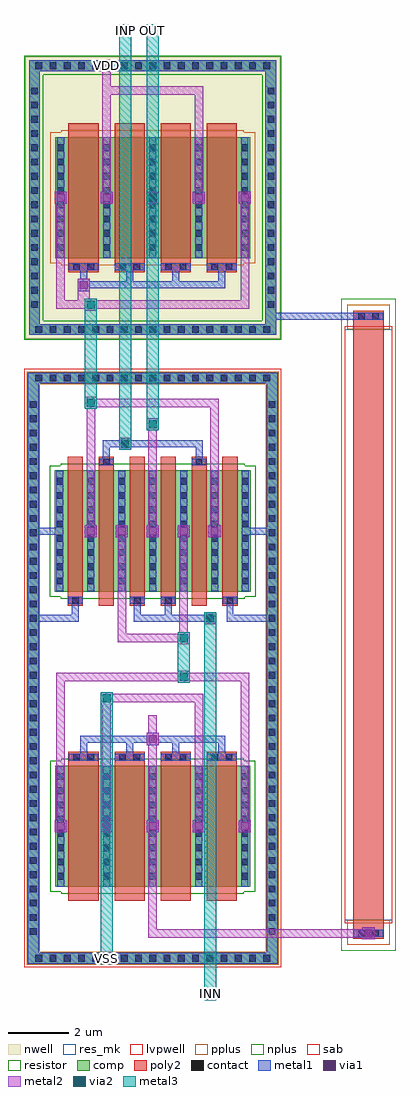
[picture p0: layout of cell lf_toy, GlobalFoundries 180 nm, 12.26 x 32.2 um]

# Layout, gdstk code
import gdstk
lib = gdstk.Library(unit=1e-6, precision=1e-09)
def R(c, l, rs):  # rectangles x0, y0, x1, y1
    for r in rs: c.add(gdstk.rectangle(r[:2], r[2:], *l))
def A(c, l, x, y, w, h, nx, ny, dx, dy):  # array of equal rectangles
    R(c, l, [(x+i*dx, y+j*dy, x+i*dx+w, y+j*dy+h) for i in range(nx) for j in range(ny)])
nwell = (21, 0)
comp = (22, 0)
poly2 = (30, 0)
pplus = (31, 0)
nplus = (32, 0)
contact = (33, 0)
metal1 = (34, 0)
via1 = (35, 0)
metal2 = (36, 0)
via2 = (38, 0)
metal3 = (42, 0)
sab = (49, 0)
resistor = (62, 0)
res_mk = (110, 5)
lvpwell = (204, 0)

lf_toy = lib.new_cell('lf_toy')
R(lf_toy, nwell, [(-4.2,16.09,4.2,25.39)])
R(lf_toy, comp, [(-4.12,-4.53,4.12,-4.17), (-4.12,-4.17,-3.76,14.61), (3.76,-4.17,4.12,14.61), (-3.22,-2,3.22,2), (-3.24,7.74,3.24,11.74), (-4.12,14.61,4.12,14.97), (-4.08,16.21,4.08,16.57), (-4.08,16.57,-3.72,24.91), (3.72,16.57,4.08,24.91), (-3.22,18.74,3.22,22.74), (-4.08,24.91,4.08,25.27)])
A(lf_toy, poly2, -2.78, -2.46, 1, 4.92, 4, 2, 1.52, 20.74)
A(lf_toy, poly2, -2.8, 7.28, 0.5, 4.92, 6, 1, 1.02, 0)
R(lf_toy, poly2, [(6.62,-3.71,7.62,17.01)])
R(lf_toy, pplus, [(-4.15,-4.56,4.15,-4.14), (-4.15,-4.14,-3.73,14.58), (3.73,-4.14,4.15,14.58), (6.42,-3.91,7.82,-3.1), (-4.15,14.58,4.15,15), (6.42,16.4,7.82,17.21), (-3.01,18.51,3.01,18.58), (-3.38,18.58,3.38,22.9), (-3.01,22.9,3.01,22.97)])
R(lf_toy, nplus, [(-3.01,-2.23,3.01,-2.16), (-3.38,-2.16,3.38,2.16), (-3.01,2.16,3.01,2.23), (-3.03,7.51,3.03,7.58), (-3.4,7.58,3.4,11.9), (-3.03,11.9,3.03,11.97), (-4.24,16.05,4.24,16.68), (-4.24,16.68,-3.61,24.8), (3.61,16.68,4.24,24.8), (-4.24,24.8,4.24,25.43)])
A(lf_toy, contact, -3.87, -4.46, 0.22, 0.22, 17, 2, 0.47, 19.14)
A(lf_toy, contact, -4.05, -3.585, 0.22, 0.22, 1, 38, 0, 0.47)
A(lf_toy, contact, 3.83, -3.585, 0.22, 0.22, 1, 38, 0, 0.47)
A(lf_toy, contact, -3.15, -1.755, 0.22, 0.22, 5, 8, 1.52, 0.47)
A(lf_toy, contact, -3.17, 7.985, 0.22, 0.22, 7, 8, 1.02, 0.47)
A(lf_toy, contact, -3.87, 16.28, 0.22, 0.22, 17, 2, 0.47, 8.7)
A(lf_toy, contact, -4.01, 17.105, 0.22, 0.22, 1, 16, 0, 0.47)
A(lf_toy, contact, 3.79, 17.105, 0.22, 0.22, 1, 16, 0, 0.47)
A(lf_toy, contact, -3.15, 18.985, 0.22, 0.22, 5, 8, 1.52, 0.47)
R(lf_toy, contact, [(6.775,-3.64,6.995,-3.42), (7.245,-3.64,7.465,-3.42), (-2.625,2.17,-2.405,2.39), (-2.155,2.17,-1.935,2.39), (-1.105,2.17,-0.885,2.39), (-0.635,2.17,-0.415,2.39), (0.415,2.17,0.635,2.39), (0.885,2.17,1.105,2.39), (1.935,2.17,2.155,2.39), (2.405,2.17,2.625,2.39), (-2.66,7.35,-2.44,7.57), (-0.62,7.35,-0.4,7.57), (0.4,7.35,0.62,7.57), (2.44,7.35,2.66,7.57), (-1.64,11.91,-1.42,12.13), (1.42,11.91,1.64,12.13), (6.775,16.72,6.995,16.94), (7.245,16.72,7.465,16.94), (-2.625,18.35,-2.405,18.57), (-2.155,18.35,-1.935,18.57), (-1.105,18.35,-0.885,18.57), (-0.635,18.35,-0.415,18.57), (0.415,18.35,0.635,18.57), (0.885,18.35,1.105,18.57), (1.935,18.35,2.155,18.57), (2.405,18.35,2.625,18.57)])
A(lf_toy, metal1, -3.155, -1.99, 0.23, 1.79, 5, 2, 1.52, 2.19)
A(lf_toy, metal1, -3.24, -0.2, 0.4, 0.4, 5, 2, 1.52, 20.74)
A(lf_toy, metal1, -2.77, 2.165, 0.98, 0.23, 4, 2, 1.52, 16.18)
A(lf_toy, metal1, -2.395, 2.395, 0.23, 0.37, 4, 1, 1.52, 0)
A(lf_toy, metal1, -2.155, 7.75, 0.23, 1.79, 5, 2, 1.02, 2.19)
A(lf_toy, metal1, -2.24, 9.54, 0.4, 0.4, 5, 1, 1.02, 0)
A(lf_toy, metal1, -0.875, 17.975, 0.23, 0.37, 3, 1, 1.52, 0)
A(lf_toy, metal1, -3.155, 18.75, 0.23, 1.79, 5, 2, 1.52, 2.19)
R(lf_toy, metal1, [(-1.72,-4.55,-1.32,-4.53), (-4.12,-4.53,4.12,-4.17), (-4.12,-4.17,-3.76,6.745), (-1.72,-4.17,-1.32,-4.15), (3.76,-4.17,4.12,6.745), (6.92,-3.73,7.32,-3.645), (6.63,-3.645,7.61,-3.415), (6.92,-3.415,7.32,-3.33), (-0.2,2.68,0.2,2.765), (-2.395,2.765,2.395,2.995), (-0.2,2.995,0.2,3.08), (1.7,6.66,2.1,6.745), (-4.12,6.745,-2.435,6.975), (-0.625,6.745,2.1,6.975), (2.435,6.745,4.12,6.975), (-4.12,6.975,-3.76,9.625), (-2.665,6.975,-2.435,7.345), (-0.625,6.975,-0.395,7.345), (0.395,6.975,0.625,7.345), (1.7,6.975,2.1,7.06), (2.435,6.975,2.665,7.345), (3.76,6.975,4.12,9.625), (-2.79,7.345,-2.31,7.575), (-0.75,7.345,-0.27,7.575), (0.27,7.345,0.75,7.575), (2.31,7.345,2.79,7.575), (-3.175,7.75,-2.945,9.625), (2.945,7.75,3.175,9.625), (-4.12,9.625,-2.945,9.855), (2.945,9.625,4.12,9.855), (-4.12,9.855,-3.76,14.61), (-3.175,9.855,-2.945,11.73), (2.945,9.855,3.175,11.73), (3.76,9.855,4.12,14.61), (-1.77,11.905,-1.29,12.135), (1.29,11.905,1.77,12.135), (-1.645,12.135,-1.415,12.505), (1.415,12.135,1.645,12.505), (-1.1,12.42,-0.7,12.505), (-1.645,12.505,1.645,12.735), (-1.1,12.735,-0.7,12.82), (-4.12,14.61,4.12,14.97), (-4.08,16.21,4.08,16.57), (-4.08,16.57,-3.72,24.91), (3.72,16.57,4.08,16.715), (3.72,16.715,7.61,16.945), (3.72,16.945,4.08,24.91), (-2.48,17.66,-2.08,17.745), (-2.48,17.745,2.395,17.975), (-2.48,17.975,-2.08,18.06), (-2.395,18.06,-2.165,18.345), (-1.72,24.89,-1.32,24.91), (-4.08,24.91,4.08,25.27), (-1.72,25.27,-1.32,25.29)])
A(lf_toy, via1, -3.17, -0.13, 0.26, 0.26, 5, 2, 1.52, 20.74)
A(lf_toy, via1, -2.17, 9.61, 0.26, 0.26, 5, 1, 1.02, 0)
R(lf_toy, via1, [(-1.65,-4.48,-1.39,-4.22), (6.99,-3.66,7.25,-3.4), (-0.13,2.75,0.13,3.01), (1.77,6.73,2.03,6.99), (-1.03,12.49,-0.77,12.75), (-2.41,17.73,-2.15,17.99), (-1.65,24.96,-1.39,25.22)])
A(lf_toy, metal2, -3.24, -0.2, 0.4, 0.4, 5, 2, 1.52, 20.74)
A(lf_toy, metal2, -2.24, 9.54, 0.4, 0.4, 5, 1, 1.02, 0)
R(lf_toy, metal2, [(-1.72,-4.55,-1.32,-4.15), (6.92,-3.73,7.32,-3.67), (-0.14,-3.67,7.32,-3.39), (-0.14,-3.39,0.14,-0.2), (6.92,-3.39,7.32,-3.33), (-3.18,0.2,-2.9,4.79), (-1.66,0.2,-1.38,4.03), (-0.14,0.2,0.14,2.68), (1.38,0.2,1.66,4.09), (2.9,0.2,3.18,4.79), (-0.2,2.68,0.2,3.08), (-0.14,3.08,0.14,3.67), (-1.72,4.03,-1.32,4.09), (-1.72,4.09,1.66,4.37), (-1.72,4.37,-1.32,4.43), (0.82,4.73,1.22,4.79), (-3.18,4.79,3.18,5.07), (0.82,5.07,1.22,5.13), (0.82,6.01,1.22,6.07), (-1.16,6.07,1.22,6.35), (-1.16,6.35,-0.88,9.54), (0.82,6.35,1.22,6.41), (0.88,6.41,1.16,9.54), (1.7,6.66,2.1,7.06), (-2.18,9.94,-1.9,13.77), (-0.14,9.94,0.14,13.07), (1.9,9.94,2.18,13.83), (-1.1,12.42,-0.7,12.82), (-0.2,13.07,0.2,13.47), (-2.24,13.77,-1.84,13.83), (-2.24,13.83,2.18,14.11), (-2.24,14.11,-1.84,14.17), (-2.24,17.01,-1.84,17.07), (-3.18,17.07,3.18,17.35), (-3.18,17.35,-2.9,20.54), (-2.48,17.35,-1.84,17.41), (2.9,17.35,3.18,20.54), (-2.48,17.41,-2.08,18.06), (-1.66,20.94,-1.38,24.13), (1.38,20.94,1.66,24.13), (-1.66,24.13,1.66,24.41), (-1.66,24.41,-1.38,24.89), (-1.72,24.89,-1.32,25.29)])
R(lf_toy, via2, [(-1.65,-4.48,-1.39,-4.22), (-1.65,4.1,-1.39,4.36), (0.89,4.8,1.15,5.06), (0.89,6.08,1.15,6.34), (1.77,6.73,2.03,6.99), (-1.03,12.49,-0.77,12.75), (-0.13,13.14,0.13,13.4), (-2.17,13.84,-1.91,14.1), (-2.17,17.08,-1.91,17.34), (-0.13,20.61,0.13,20.87)])
R(lf_toy, metal3, [(1.7,-5.73,2.1,7.06), (-1.72,-4.55,-1.32,4.43), (0.82,4.73,1.22,6.41), (-1.1,12.42,-0.7,26.47), (-0.2,13.07,0.2,26.47), (-2.24,13.77,-1.84,17.41)])
R(lf_toy, sab, [(6.34,-3.2,7.9,16.5), (6.34,-3.1,7.9,16.4)])
R(lf_toy, resistor, [(6.22,-4.11,8.02,17.41)])
R(lf_toy, res_mk, [(6.34,-3.1,7.9,16.4), (6.62,-3.1,7.62,16.4)])
R(lf_toy, lvpwell, [(-4.24,-4.65,4.24,15.09)])
lf_toy.add(gdstk.Label('OUT', (0,26.27), layer=42, texttype=10))
lf_toy.add(gdstk.Label('VDD', (-1.52,25.09), layer=34, texttype=10))
lf_toy.add(gdstk.Label('VSS', (-1.52,-4.35), layer=36, texttype=10))
lf_toy.add(gdstk.Label('INP', (-0.9,26.27), layer=42, texttype=10))
lf_toy.add(gdstk.Label('INN', (1.9,-5.53), layer=42, texttype=10))

lib.write_gds('lf_toy.gds')
